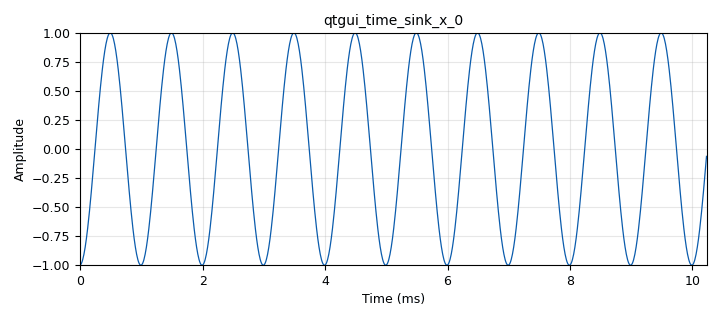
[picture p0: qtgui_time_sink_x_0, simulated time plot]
options:
  parameters:
    generate_options: qt_gui
    id: top_block
    output_language: python
  states: {}

blocks:
- name: samp_rate
  id: variable
  parameters:
    value: 100e3
  states: {}
- name: analog_sig_source_x_0
  id: analog_sig_source_x
  parameters:
    amp: '1'
    freq: 1e3
    offset: '0'
    phase: '0'
    samp_rate: samp_rate
    type: float
    waveform: analog.GR_SIN_WAVE
  states: {}
- name: blocks_file_sink_0
  id: blocks_file_sink
  parameters:
    file: C:\Users\Usuario\Downloads\signal_tp1f.dat
    type: float
  states: {}
- name: qtgui_time_sink_x_0
  id: qtgui_time_sink_x
  parameters:
    size: '1024'
    srate: samp_rate
    type: float
  states: {}

connections:
- [analog_sig_source_x_0, '0', blocks_file_sink_0, '0']
- [analog_sig_source_x_0, '0', qtgui_time_sink_x_0, '0']

metadata:
  file_format: 1
  grc_version: 3.10.5.1
